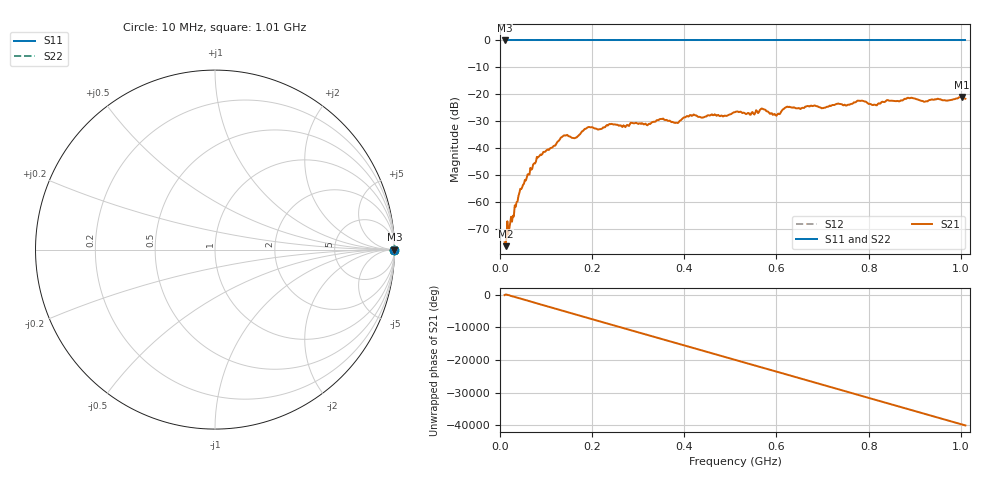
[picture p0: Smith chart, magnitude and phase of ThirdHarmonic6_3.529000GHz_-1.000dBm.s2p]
! 8/17/2025 11:35:46 AM
! C:\ANRITSUVNA\TEMP\TEMP.S2P
! CHANNEL.1
! TR.MEASUREMENT
! RAW.DATA
! RF.CORRECTION.OFF
! AVERAGING.OFF
! IF.BANDWIDTH: 5KHZ
! SWEEPTYPE:  FREQ.SWEEP(Linear)
! Reference Plane Port Info
! PORT:  PORT1  PORT2
! DISTANCE:  0  m  0  m
! TIME:  0  s  0  s
! PHASE.OFFSET:  0  deg.  0  deg.
! LOSS:  0  dB  0  dB
! REF.LOSS:  0  dB  0  dB
! REF.FREQ:  0  Hz  0  Hz
! Power Info
! POWER:  -20  dBm  -20  dBm
! EFF.POWER:  -20  dBm  -20  dBm
! SOURCE.ATTEN:  0  dB  0  dB
! TEST.ATTEN:  0  dB  0  dB
# GHZ S RI R 50.0
! FREQ.GHZ  S11RE  S11IM  S21RE  S21IM  S12RE  S12IM  S22RE  S22IM
!; PortSelection: Port_12
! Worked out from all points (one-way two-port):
!   501 points, 10 MHz to 1.01 GHz, reference 50 ohm
!   highest |S21| = -20.92 dB at 1.002 GHz (marker M1); lowest = -76.3 dB at 12 MHz (marker M2)
!   lowest |S11| = 0.0 dB at 10 MHz (marker M3)
!   |S11| at or under -10 dB: nowhere
!   |S22| runs from 0.0 to 0.0 dB; largest |S21 - S12| = 1.1
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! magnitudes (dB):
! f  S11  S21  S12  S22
! 10 MHz  0.0  -74.8  0.0  0.0
! 12 MHz  0.0  -76.3  0.0  0.0
! 44 MHz  0.0  -55.0  0.0  0.0
! 84 MHz  0.0  -43.1  0.0  0.0
! 136 MHz  0.0  -35.6  0.0  0.0
! 162 MHz  0.0  -36.2  0.0  0.0
! 178 MHz  0.0  -33.7  0.0  0.0
! 194 MHz  0.0  -32.1  0.0  0.0
! 322 MHz  0.0  -31.1  0.0  0.0
! 344 MHz  0.0  -29.5  0.0  0.0
! 382 MHz  0.0  -30.5  0.0  0.0
! 416 MHz  0.0  -28.0  0.0  0.0
! 510 MHz  0.0  -26.6  0.0  0.0
! 570 MHz  0.0  -25.3  0.0  0.0
! 596 MHz  0.0  -27.2  0.0  0.0
! 624 MHz  0.0  -24.5  0.0  0.0
! 678 MHz  0.0  -24.4  0.0  0.0
! 780 MHz  0.0  -22.4  0.0  0.0
! 814 MHz  0.0  -23.8  0.0  0.0
! 844 MHz  0.0  -22.3  0.0  0.0
! 1.002 GHz  0.0  -20.9  0.0  0.0
! 1.01 GHz  0.0  -21.6  0.0  0.0
